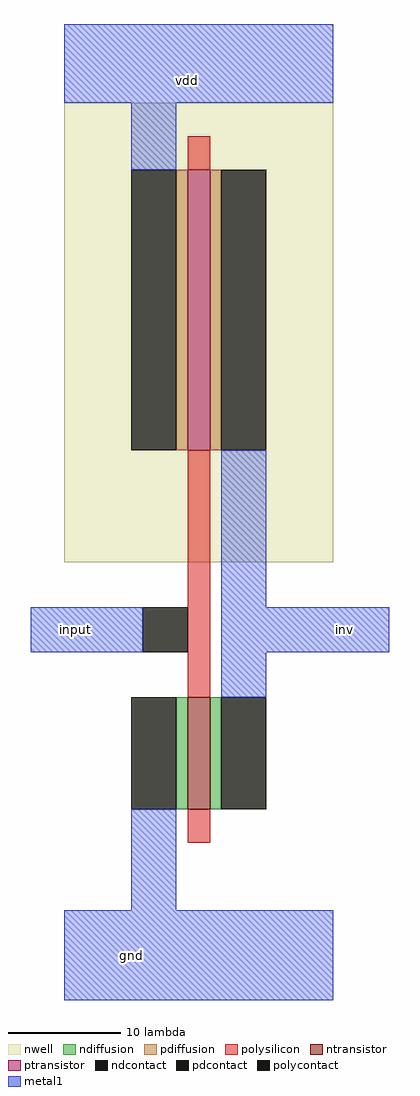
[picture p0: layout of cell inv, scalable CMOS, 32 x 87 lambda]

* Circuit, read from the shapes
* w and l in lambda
.subckt inv gnd input vdd
M1 n1 input gnd VSUBS nfet w=10 l=2
M2 n1 input vdd n2 pfet w=25 l=2
.ends

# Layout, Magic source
magic
tech scmos
<< nwell >>
rect -16 -2 8 39
<< ntransistor >>
rect -5 -24 -3 -14
<< ptransistor >>
rect -5 8 -3 33
<< ndiffusion >>
rect -6 -24 -5 -14
rect -3 -24 -2 -14
<< pdiffusion >>
rect -6 8 -5 33
rect -3 8 -2 33
<< ndcontact >>
rect -10 -24 -6 -14
rect -2 -24 2 -14
<< pdcontact >>
rect -10 8 -6 33
rect -2 8 2 33
<< polysilicon >>
rect -5 33 -3 36
rect -5 -14 -3 8
rect -5 -27 -3 -24
<< polycontact >>
rect -9 -10 -5 -6
<< metal1 >>
rect -16 39 8 46
rect -10 33 -6 39
rect -2 -6 2 8
rect -19 -10 -9 -6
rect -2 -10 13 -6
rect -2 -14 2 -10
rect -10 -33 -6 -24
rect -16 -41 8 -33
<< labels >>
rlabel metal1 -5 41 -5 41 5 vdd
rlabel metal1 -15 -8 -15 -8 3 input
rlabel metal1 -10 -37 -10 -37 1 gnd
rlabel metal1 9 -8 9 -8 1 inv
<< end >>
